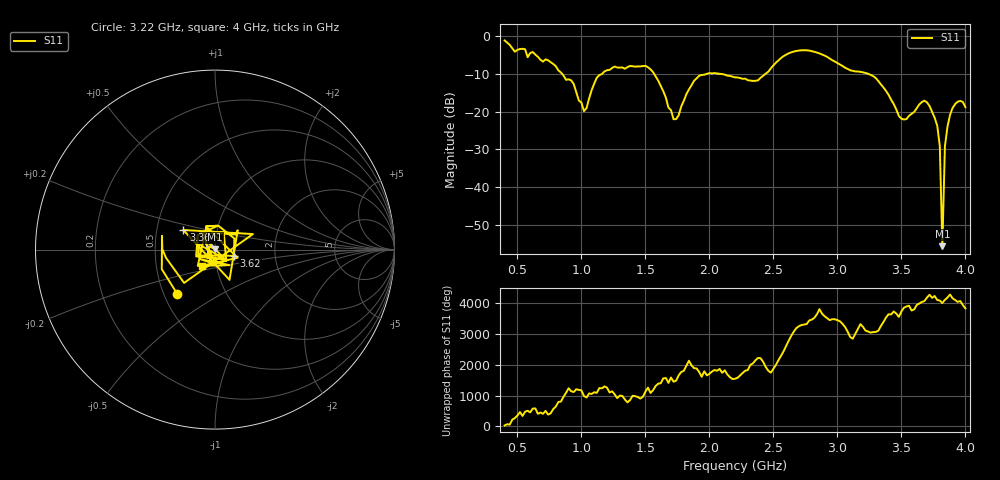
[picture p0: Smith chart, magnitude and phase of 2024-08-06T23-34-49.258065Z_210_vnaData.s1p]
!Created with skrf (http://scikit-rf.org).
# Hz S RI R 50.0
!freq ReS11 ImS11
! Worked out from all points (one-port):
!   181 points, 400 MHz to 4 GHz, reference 50 ohm
!   lowest |S11| = -55.6 dB at 3.82 GHz (marker M1), VSWR 1.00, Z = 50.1 + j0.122 ohm
!   |S11| at or under -10 dB: 1.568 GHz to 1.982 GHz (414.9 MHz wide, 23.4 % of centre); 2.075 GHz to 2.439 GHz (364.7 MHz wide, 16.2 % of centre); 3.239 GHz to end of sweep (the widest 3 of 4)
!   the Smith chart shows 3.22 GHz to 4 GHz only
!   S11 on the Smith chart (normalised r, x): 3.22 GHz: 0.59, -0.32; 3.36 GHz: 0.69, +0.16; 3.62 GHz: 1.23, -0.09; 4 GHz: 0.85, -0.16
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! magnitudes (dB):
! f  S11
! 400 MHz  -1.2
! 860 MHz  -10.5
! 940 MHz  -12.7
! 1.02 GHz  -19.9
! 1.12 GHz  -11.1
! 1.3 GHz  -8.4
! 1.52 GHz  -8.3
! 1.6 GHz  -11.8
! 1.72 GHz  -22.0
! 1.76 GHz  -21.0
! 1.92 GHz  -10.5
! 2.2 GHz  -11.0
! 2.38 GHz  -11.7
! 2.66 GHz  -4.1
! 3.1 GHz  -9.1
! 3.22 GHz  -9.8
! 3.36 GHz  -13.7
! 3.48 GHz  -21.2
! 3.56 GHz  -21.1
! 3.62 GHz  -19.1
! 3.7 GHz  -17.6
! 3.78 GHz  -23.8
! 3.8 GHz  -29.1
! 3.82 GHz  -55.6
! 3.84 GHz  -29.2
! 3.86 GHz  -24.0
! 3.92 GHz  -18.0
! 4 GHz  -18.8
